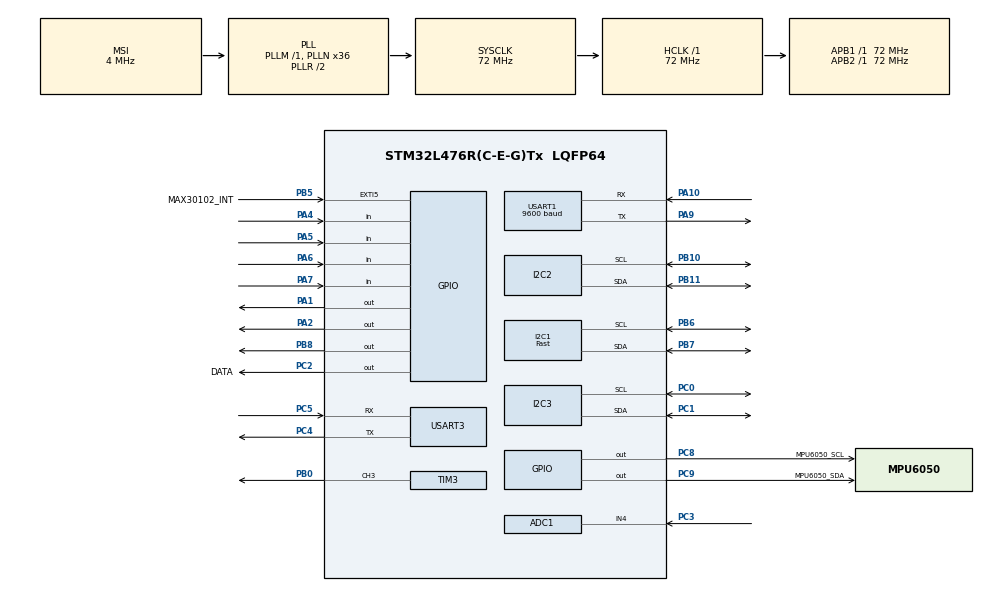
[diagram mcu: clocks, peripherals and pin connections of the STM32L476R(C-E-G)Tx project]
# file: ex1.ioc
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ADC1.Channel-0\#ChannelRegularConversion=ADC_CHANNEL_4
ADC1.NbrOfConversionFlag=1
ADC1.OffsetNumber-0\#ChannelRegularConversion=ADC_OFFSET_NONE
ADC1.Rank-0\#ChannelRegularConversion=1
ADC1.SamplingTime-0\#ChannelRegularConversion=ADC_SAMPLETIME_2CYCLES_5
ADC1.master=1
I2C1.I2C_Speed_Mode=I2C_Fast
I2C1.Timing=0x00E12573
I2C2.Timing=0x10C18DCC
I2C3.Timing=0x10C18DCC
Mcu.Family=STM32L4
Mcu.Name=STM32L476R(C-E-G)Tx
Mcu.Package=LQFP64
NVIC.ADC1_2_IRQn=true\:0\:0\:false\:false\:true\:true\:true\:true
NVIC.EXTI9_5_IRQn=true\:0\:0\:false\:false\:true\:true\:true\:true
NVIC.PriorityGroup=NVIC_PRIORITYGROUP_4
NVIC.USART3_IRQn=true\:0\:0\:false\:false\:true\:true\:true\:true
PA1.GPIO_PuPd=GPIO_PULLUP
PA1.GPIO_Speed=GPIO_SPEED_FREQ_HIGH
PA1.Signal=GPIO_Output
PA10.Mode=Asynchronous
PA10.Signal=USART1_RX
PA2.GPIO_PuPd=GPIO_PULLUP
PA2.GPIO_Speed=GPIO_SPEED_FREQ_HIGH
PA2.Signal=GPIO_Output
PA4.GPIO_PuPd=GPIO_PULLUP
PA4.Signal=GPIO_Input
PA5.GPIO_PuPd=GPIO_PULLUP
PA5.Signal=GPIO_Input
PA6.GPIO_PuPd=GPIO_PULLUP
PA6.Signal=GPIO_Input
PA7.GPIO_PuPd=GPIO_PULLUP
PA7.Signal=GPIO_Input
PA9.Mode=Asynchronous
PA9.Signal=USART1_TX
PB0.Signal=S_TIM3_CH3
PB10.Mode=I2C
PB10.Signal=I2C2_SCL
PB11.Mode=I2C
PB11.Signal=I2C2_SDA
PB5.GPIO_Label=MAX30102_INT
PB5.GPIO_ModeDefaultEXTI=GPIO_MODE_IT_FALLING
PB5.GPIO_PuPd=GPIO_NOPULL
PB5.Signal=GPXTI5
PB6.Mode=I2C
PB6.Signal=I2C1_SCL
PB7.Mode=I2C
PB7.Signal=I2C1_SDA
PB8.Signal=GPIO_Output
PC0.Mode=I2C
PC0.Signal=I2C3_SCL
PC1.Mode=I2C
PC1.Signal=I2C3_SDA
PC14-OSC32_IN\ (PC14).Mode=LSE-External-Oscillator
PC14-OSC32_IN\ (PC14).Signal=RCC_OSC32_IN
PC15-OSC32_OUT\ (PC15).Mode=LSE-External-Oscillator
PC15-OSC32_OUT\ (PC15).Signal=RCC_OSC32_OUT
PC2.GPIO_Label=DATA
PC2.PinState=GPIO_PIN_SET
PC2.Signal=GPIO_Output
PC3.Signal=ADCx_IN4
PC4.Mode=Asynchronous
PC4.Signal=USART3_TX
PC5.Mode=Asynchronous
PC5.Signal=USART3_RX
PC8.GPIO_Label=MPU6050_SCL
PC8.GPIO_PuPd=GPIO_PULLUP
PC8.Signal=GPIO_Output
PC9.GPIO_Label=MPU6050_SDA
PC9.GPIO_PuPd=GPIO_PULLUP
PC9.GPIO_Speed=GPIO_SPEED_FREQ_HIGH
PC9.Signal=GPIO_Output
PH0-OSC_IN\ (PH0).Mode=HSE-External-Oscillator
PH0-OSC_IN\ (PH0).Signal=RCC_OSC_IN
PH1-OSC_OUT\ (PH1).Mode=HSE-External-Oscillator
PH1-OSC_OUT\ (PH1).Signal=RCC_OSC_OUT
ProjectManager.HeapSize=0x200
ProjectManager.StackSize=0x400
ProjectManager.TargetToolchain=MDK-ARM V5.27
RCC.ADCFreq_Value=32000000
RCC.AHBFreq_Value=72000000
RCC.APB1Freq_Value=72000000
RCC.APB1TimFreq_Value=72000000
RCC.APB2Freq_Value=72000000
RCC.APB2TimFreq_Value=72000000
RCC.CortexFreq_Value=72000000
RCC.HCLKFreq_Value=72000000
RCC.HSE_VALUE=8000000
RCC.HSI_VALUE=16000000
RCC.MSI_VALUE=4000000
RCC.PLLN=36
RCC.PLLSAI1N=16
RCC.SYSCLKFreq_VALUE=72000000
RCC.SYSCLKSource=RCC_SYSCLKSOURCE_PLLCLK
RCC.USBFreq_Value=32000000
RCC.VCOOutputFreq_Value=144000000
SH.ADCx_IN4.0=ADC1_IN4,IN4-Single-Ended
SH.S_TIM3_CH3.0=TIM3_CH3,PWM Generation3 CH3
TIM1.AutoReloadPreload=TIM_AUTORELOAD_PRELOAD_ENABLE
TIM1.Period=1
TIM1.Prescaler=80-1
TIM3.Channel-PWM\ Generation3\ CH3=TIM_CHANNEL_3
TIM3.Period=9999
TIM3.Prescaler=80-1
TIM4.Prescaler=72-1
USART1.BaudRate=9600
USART1.VirtualMode-Asynchronous=VM_ASYNC
USART3.VirtualMode-Asynchronous=VM_ASYNC
VP_TIM1_VS_ClockSourceINT.Mode=Internal
VP_TIM4_VS_ClockSourceINT.Mode=Internal
board=custom

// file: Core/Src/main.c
/* USER CODE BEGIN Header */
/**
  ******************************************************************************
  * @file           : main.c
  * @brief          : Main program body
  ******************************************************************************
  * @attention
  *
  * Copyright (c) 2025 STMicroelectronics.
  * All rights reserved.
  *
  * This software is licensed under terms that can be found in the LICENSE file
  * in the root directory of this software component.
  * If no LICENSE file comes with this software, it is provided AS-IS.
  *
  ******************************************************************************
  */
/* USER CODE END Header */
#include "main.h"
#include "adc.h"
#include "i2c.h"
#include "tim.h"
#include "usart.h"
#include "gpio.h"

/* USER CODE BEGIN Includes */
#include <stdio.h>
#include <stdlib.h>
#include <string.h>
#include <math.h>

#include "oled.h"
#include "max30102.h"
#include "dht11.h"
#include "DS3231.h"
#include "IIC.h"
#include "mpu6050.h"
#include "inv_mpu.h"
#include "inv_mpu_dmp_motion_driver.h"

/*
 * Application overview:
 * - polls several sensors on a simple cooperative schedule,
 * - keeps the latest results in module-specific state structures,
 * - mirrors the current page to the OLED,
 * - and periodically prints a consolidated telemetry packet over Bluetooth/UART.
 */
/* USER CODE END Includes */

/* USER CODE BEGIN PTD */
/* Cached DS3231 time after any display-side offset has been applied. */
typedef struct
{
    uint8_t year;
    uint8_t month;
    uint8_t day;
    uint8_t weekday;
    uint8_t hour;
    uint8_t minute;
    uint8_t second;
    uint8_t valid;
} rtc_state_t;

/* Latest DHT11 reading. */
typedef struct
{
    uint8_t temp;
    uint8_t humidity;
    uint8_t valid;
} dht_state_t;

/* Raw ADC light reading plus a normalized percentage for display/telemetry. */
typedef struct
{
    uint32_t raw;
    uint8_t percent;
} light_state_t;

/* Motion snapshot combining orientation, raw IMU values, and the software step counter. */
typedef struct
{
    float pitch;
    float roll;
    float yaw;
    int16_t ax;
    int16_t ay;
    int16_t az;
    int16_t gx;
    int16_t gy;
    int16_t gz;
    uint32_t steps;
    uint8_t valid;
} motion_state_t;

/* Smoothed pulse oximeter result plus validity/finger-detection flags. */
typedef struct
{
    uint16_t heart_rate;
    uint16_t spo2;
    uint8_t hr_valid;
    uint8_t spo2_valid;
    uint8_t finger_present;
} pulse_state_t;

/* Position fix cached from either the hardware GNSS receiver or Bluetooth-relayed coordinates. */
typedef struct
{
    char utc[16];
    char date[8];
    char lat[16];
    char lon[16];
    char lat_deg[16];
    char lon_deg[16];
    char lat_hemi;
    char lon_hemi;
    uint8_t fix_valid;
    uint32_t last_update_ms;
} gps_state_t;

/* UI-only state for page selection and alarm thresholds. */
typedef struct
{
    uint8_t page;
    uint8_t temp_warn;
    uint16_t hr_warn;
} ui_state_t;
/* USER CODE END PTD */

/* USER CODE BEGIN PD */
#define MENU_PAGE_COUNT                 6U
#define OLED_TEXT_COLS                  21U

/*
 * LM393 AO on most photoresistor modules rises when ambient light gets stronger.
 * If your board behaves in the opposite direction, change this define to 0.
 */
#define LIGHT_SENSOR_HIGH_WHEN_BRIGHT   0U
#define RTC_DISPLAY_OFFSET_SECONDS      10

/* Cooperative scheduler periods for the main loop. */
#define KEY_SCAN_MS                     20U
#define MPU_UPDATE_MS                   40U
#define ADC_UPDATE_MS                   100U
#define RTC_UPDATE_MS                   250U
#define DHT_UPDATE_MS                   2000U
#define MAX30102_UPDATE_MS              100U
#define MAX30102_STARTUP_DELAY_MS       100U
#define OLED_UPDATE_MS                  200U
#define BT_UPDATE_MS                    1000U
#define GPS_STALE_MS                    10000U

#define TEMP_WARN_DEFAULT               30U
#define TEMP_WARN_MIN                   0U
#define TEMP_WARN_MAX                   60U

#define HR_WARN_DEFAULT                 120U
#define HR_WARN_MIN                     60U
#define HR_WARN_MAX                     200U

#define HR_FILTER_DEPTH                 7U
#define MAX30102_INVALID_HOLD           2U
#define GPS_LINE_MAX                    96U
/* USER CODE END PD */

/* USER CODE BEGIN PV */
/* Latest module snapshots used by the OLED page renderer and Bluetooth output. */
static rtc_state_t g_rtc = {0};
static dht_state_t g_dht = {0};
static light_state_t g_light = {0};
static motion_state_t g_motion = {0};
static pulse_state_t g_pulse = {0};
static gps_state_t g_gps = {{0}};
static gps_state_t g_bt_gps = {{0}};
static ui_state_t g_ui = {0, TEMP_WARN_DEFAULT, HR_WARN_DEFAULT};

/* Line-assembly state for byte-wise UART reception. */
static uint8_t g_gps_rx_byte = 0U;
static uint8_t g_bt_rx_byte = 0U;
static volatile uint16_t g_gps_line_index = 0U;
static volatile uint8_t g_gps_sentence_ready = 0U;
static char g_gps_line_buffer[GPS_LINE_MAX] = {0};
static char g_gps_sentence_buffer[GPS_LINE_MAX] = {0};

static volatile uint16_t g_bt_line_index = 0U;
static volatile uint8_t g_bt_sentence_ready = 0U;
static char g_bt_line_buffer[GPS_LINE_MAX] = {0};
static char g_bt_sentence_buffer[GPS_LINE_MAX] = {0};

/* Cached OLED rows so only changed lines are rewritten, which reduces visible flicker. */
static char g_oled_cache[8][OLED_TEXT_COLS + 1U] = {{0}};
static uint8_t g_oled_cache_valid = 0U;
static uint8_t g_last_oled_page = 0xFFU;

/* Runtime flags describing refresh requests and IMU availability. */
static uint8_t g_ui_force_refresh = 1U;
static uint8_t g_mpu_basic_ready = 0U;
static uint8_t g_mpu_dmp_ready = 0U;

/* Last execution timestamps for the cooperative scheduler. */
static uint32_t g_last_key_ms = 0U;
static uint32_t g_last_mpu_ms = 0U;
static uint32_t g_last_adc_ms = 0U;
static uint32_t g_last_rtc_ms = 0U;
static uint32_t g_last_dht_ms = 0U;
static uint32_t g_last_max30102_ms = 0U;
static uint32_t g_last_oled_ms = 0U;
static uint32_t g_last_bt_ms = 0U;
static uint32_t g_boot_ms = 0U;

/* Step detector history used to adapt the threshold and avoid double counting. */
static int16_t g_step_prev_ax = 0;
static int16_t g_step_prev_ay = 0;
static int16_t g_step_prev_az = 0;
static uint32_t g_step_history[10] = {0};
static uint8_t g_step_history_index = 0U;
static uint16_t g_step_threshold = 700U;
static uint8_t g_step_gate = 0U;

/* Median-filter history and stability counters for pulse output. */
static uint16_t g_hr_history[HR_FILTER_DEPTH] = {0};
static uint8_t g_hr_history_count = 0U;
static uint8_t g_hr_history_index = 0U;

static uint8_t g_hr_consecutive_valid = 0U;
static uint8_t g_spo2_consecutive_valid = 0U;
static uint8_t g_hr_consecutive_invalid = 0U;
static uint8_t g_spo2_consecutive_invalid = 0U;
static uint8_t g_hr_jump_reject_count = 0U;

/* Non-blocking buzzer sequence state. */
static uint8_t g_alarm_on = 0U;
static uint8_t g_alarm_steps_left = 0U;
static uint32_t g_alarm_next_toggle_ms = 0U;
static uint32_t g_alarm_last_sequence_ms = 0U;
/* USER CODE END PV */

void SystemClock_Config(void);
/* USER CODE BEGIN PFP */
static uint8_t App_LightPercentFromRaw(uint32_t raw);
static uint32_t App_AccelAbsSum(int16_t ax, int16_t ay, int16_t az);
static void App_StepAdjustThreshold(uint32_t current_sum);
static void App_StepUpdate(int16_t ax, int16_t ay, int16_t az);
static void App_BuzzerStart(uint16_t freq_hz);
static void App_BuzzerStop(void);
static void App_AlarmTask(uint32_t now, uint8_t alert_active);
static void App_RtcTask(void);
static void App_DhtTask(void);
static void App_LightTask(void);
static void App_MotionTask(void);
static void App_PulseTask(void);
static void App_KeysTask(void);
static void App_OledTask(void);
static void App_BluetoothTask(void);
static void App_GpsHandleByte(uint8_t byte);
static void App_BtHandleByte(uint8_t byte);
static void App_GpsProcessPending(void);
static void App_BtProcessPending(void);
static void App_GpsParseSentence(char *sentence);
static void App_GpsParseSentenceToState(gps_state_t *state, char *sentence);
static void App_BtParseSentence(char *sentence);
static uint8_t App_GpsStateFresh(const gps_state_t *state, uint32_t now);
static const gps_state_t *App_GpsGetActive(uint32_t now, uint8_t *from_bt);
static uint16_t App_FilterHeartRate(uint16_t sample);
static void App_UpdateTiltFromAccel(int16_t ax, int16_t ay, int16_t az);
static void App_RtcAddOffset(rtc_state_t *rtc, int32_t seconds_offset);
static const char *App_ClimateComfortText(uint8_t temp_c, uint8_t humidity_percent);
static const char *App_TemperatureComfortText(uint8_t temp_c);
static const char *App_HumidityComfortText(uint8_t humidity_percent);
static const char *App_LightLevelText(uint8_t percent);
static void App_OledWriteLine(uint8_t row, const char *text, uint8_t force);
static void App_NmeaToDegrees(const char *nmea, char hemisphere, uint8_t is_latitude, char *out, size_t out_len);
static uint8_t App_BtParseCoordinateText(const char *sentence, gps_state_t *state);
/* USER CODE END PFP */

/* USER CODE BEGIN 0 */
/* Convert the raw 12-bit ADC sample into a user-facing percentage. */
static uint8_t App_LightPercentFromRaw(uint32_t raw)
{
    uint32_t percent = (raw * 100U) / 4095U;

#if !LIGHT_SENSOR_HIGH_WHEN_BRIGHT
    percent = 100U - percent;
#endif

    if (percent > 100U)
    {
        percent = 100U;
    }
    return (uint8_t)percent;
}

/* Compact motion magnitude used by the simple step detector. */
static uint32_t App_AccelAbsSum(int16_t ax, int16_t ay, int16_t az)
{
    return (uint32_t)abs((int)ax) + (uint32_t)abs((int)ay) + (uint32_t)abs((int)az);
}

/* Adapt the step threshold to recent motion intensity so the counter is less sensitive to fixed tuning. */
static void App_StepAdjustThreshold(uint32_t current_sum)
{
    uint32_t avg = 0U;
    uint8_t count = 0U;
    uint8_t i;

    g_step_history[g_step_history_index] = current_sum;
    g_step_history_index = (uint8_t)((g_step_history_index + 1U) % 10U);

    for (i = 0U; i < 10U; i++)
    {
        if (g_step_history[i] > 0U)
        {
            avg += g_step_history[i];
            count++;
        }
    }

    if (count == 0U)
    {
        return;
    }

    avg /= count;
    g_step_threshold = (uint16_t)(avg + 450U);
    if (g_step_threshold < 550U)
    {
        g_step_threshold = 550U;
    }
    if (g_step_threshold > 1500U)
    {
        g_step_threshold = 1500U;
    }
}

/* Detect a new step from the change in acceleration magnitude and gate it until motion settles again. */
static void App_StepUpdate(int16_t ax, int16_t ay, int16_t az)
{
    uint32_t current_sum = App_AccelAbsSum(ax, ay, az);
    uint32_t last_sum = App_AccelAbsSum(g_step_prev_ax, g_step_prev_ay, g_step_prev_az);
    int32_t accel_diff = (int32_t)current_sum - (int32_t)last_sum;

    if (accel_diff < 0)
    {
        accel_diff = -accel_diff;
    }

    App_StepAdjustThreshold(current_sum);

    if ((uint32_t)accel_diff > g_step_threshold)
    {
        if (g_step_gate == 0U)
        {
            g_motion.steps++;
            g_step_gate = 1U;
            g_ui_force_refresh = 1U;
        }
    }
    else if ((uint32_t)accel_diff < (g_step_threshold / 3U))
    {
        g_step_gate = 0U;
    }

    g_step_prev_ax = ax;
    g_step_prev_ay = ay;
    g_step_prev_az = az;
}

/* Fallback orientation estimate used when the MPU DMP is unavailable. */
static void App_UpdateTiltFromAccel(int16_t ax, int16_t ay, int16_t az)
{
    float axf = (float)ax;
    float ayf = (float)ay;
    float azf = (float)az;
    float denom = sqrtf((ayf * ayf) + (azf * azf));

    if (denom < 1.0f)
    {
        denom = 1.0f;
    }

    g_motion.pitch = atan2f(-axf, denom) * 57.2957795f;
    g_motion.roll = atan2f(ayf, azf) * 57.2957795f;
}

/* Calendar helpers are used when applying a display-side time offset. */
static uint8_t App_IsLeapYear(uint16_t year)
{
    uint16_t full_year = (uint16_t)(2000U + year);
    return (((full_year % 4U) == 0U) && (((full_year % 100U) != 0U) || ((full_year % 400U) == 0U))) ? 1U : 0U;
}

static uint8_t App_DaysInMonth(uint8_t month, uint8_t year)
{
    static const uint8_t days[12] = {31U, 28U, 31U, 30U, 31U, 30U, 31U, 31U, 30U, 31U, 30U, 31U};

    if ((month == 0U) || (month > 12U))
    {
        return 31U;
    }

    if ((month == 2U) && (App_IsLeapYear(year) != 0U))
    {
        return 29U;
    }

    return days[month - 1U];
}

/* Shift the displayed time without writing the offset back into the RTC chip. */
static void App_RtcAddOffset(rtc_state_t *rtc, int32_t seconds_offset)
{
    int32_t total_seconds;
    uint8_t dim;

    if ((rtc == NULL) || (rtc->valid == 0U) || (seconds_offset == 0))
    {
        return;
    }

    total_seconds = ((int32_t)rtc->hour * 3600) + ((int32_t)rtc->minute * 60) + (int32_t)rtc->second + seconds_offset;

    while (total_seconds < 0)
    {
        total_seconds += 86400;
        if (rtc->day > 1U)
        {
            rtc->day--;
        }
        else
        {
            if (rtc->month > 1U)
            {
                rtc->month--;
            }
            else
            {
                rtc->month = 12U;
                if (rtc->year > 0U)
                {
                    rtc->year--;
                }
            }
            rtc->day = App_DaysInMonth(rtc->month, rtc->year);
        }
    }

    while (total_seconds >= 86400)
    {
        total_seconds -= 86400;
        dim = App_DaysInMonth(rtc->month, rtc->year);
        rtc->day++;
        if (rtc->day > dim)
        {
            rtc->day = 1U;
            rtc->month++;
            if (rtc->month > 12U)
            {
                rtc->month = 1U;
                rtc->year++;
            }
        }
    }

    rtc->hour = (uint8_t)(total_seconds / 3600);
    total_seconds %= 3600;
    rtc->minute = (uint8_t)(total_seconds / 60);
    rtc->second = (uint8_t)(total_seconds % 60);
}

/* Human-readable labels used on the OLED and inside telemetry packets. */
static const char *App_TemperatureComfortText(uint8_t temp_c)
{
    if (temp_c < 20U)
    {
        return "Cold";
    }
    if (temp_c > 26U)
    {
        return "Hot";
    }
    return "Comfort";
}

static const char *App_HumidityComfortText(uint8_t humidity_percent)
{
    if (humidity_percent < 30U)
    {
        return "Dry";
    }
    if (humidity_percent > 60U)
    {
        return "Humid";
    }
    return "Comfort";
}

static const char *App_LightLevelText(uint8_t percent)
{
    if (percent >= 70U)
    {
        return "Bright";
    }
    if (percent >= 35U)
    {
        return "Normal";
    }
    return "Dark";
}

static const char *App_ClimateComfortText(uint8_t temp_c, uint8_t humidity_percent)
{
    uint8_t temp_ok = ((temp_c >= 20U) && (temp_c <= 26U)) ? 1U : 0U;
    uint8_t humidity_ok = ((humidity_percent >= 30U) && (humidity_percent <= 60U)) ? 1U : 0U;

    if ((temp_ok != 0U) && (humidity_ok != 0U))
    {
        return "Comfort";
    }
    if ((temp_c > 26U) && (humidity_percent > 60U))
    {
        return "Hot&Humid";
    }
    if ((temp_c < 20U) && (humidity_percent < 30U))
    {
        return "Cold&Dry";
    }
    if (temp_c > 26U)
    {
        return "Hot";
    }
    if (temp_c < 20U)
    {
        return "Cold";
    }
    if (humidity_percent > 60U)
    {
        return "Humid";
    }
    if (humidity_percent < 30U)
    {
        return "Dry";
    }
    return "NearComfort";
}

/* Pad, cache, and rewrite a single OLED row only when its visible content changes. */
static void App_OledWriteLine(uint8_t row, const char *text, uint8_t force)
{
    char padded[OLED_TEXT_COLS + 1U];
    size_t len;

    if (row >= 8U)
    {
        return;
    }

    memset(padded, ' ', sizeof(padded));
    padded[OLED_TEXT_COLS] = '\0';

    if (text != NULL)
    {
        len = strlen(text);
        if (len > OLED_TEXT_COLS)
        {
            len = OLED_TEXT_COLS;
        }
        memcpy(padded, text, len);
    }

    if ((force != 0U) || (g_oled_cache_valid == 0U) || (strncmp(g_oled_cache[row], padded, OLED_TEXT_COLS) != 0))
    {
        strcpy(g_oled_cache[row], padded);
        OLED_ShowString(0, row, g_oled_cache[row], 12, 0);
    }
}

/* Convert ddmm.mmmm / dddmm.mmmm NMEA text into a compact hemisphere-prefixed decimal string. */
static void App_NmeaToDegrees(const char *nmea, char hemisphere, uint8_t is_latitude, char *out, size_t out_len)
{
    uint32_t raw = 0U;
    uint32_t degrees;
    uint32_t minutes_x10000;
    uint32_t fraction_scale = 1U;
    const char *dot;
    size_t i;
    uint32_t decimal_deg_x10000;

    if ((out == NULL) || (out_len == 0U))
    {
        return;
    }

    out[0] = '\0';

    if ((nmea == NULL) || (nmea[0] == '\0'))
    {
        return;
    }

    for (i = 0U; nmea[i] != '\0'; i++)
    {
        if (nmea[i] == '.')
        {
            continue;
        }
        if ((nmea[i] < '0') || (nmea[i] > '9'))
        {
            return;
        }
        raw = (raw * 10U) + (uint32_t)(nmea[i] - '0');
    }

    dot = strchr(nmea, '.');
    if (dot != NULL)
    {
        size_t frac_digits = strlen(dot + 1U);
        while (frac_digits-- > 0U)
        {
            fraction_scale *= 10U;
        }
    }
    else
    {
        fraction_scale = 1U;
    }

    if (is_latitude != 0U)
    {
        degrees = raw / (100U * fraction_scale);
        minutes_x10000 = (raw - (degrees * 100U * fraction_scale)) * 10000U / fraction_scale;
    }
    else
    {
        degrees = raw / (100U * fraction_scale);
        minutes_x10000 = (raw - (degrees * 100U * fraction_scale)) * 10000U / fraction_scale;
    }

    decimal_deg_x10000 = (degrees * 10000U) + (minutes_x10000 / 60U);
    snprintf(out, out_len, "%c%lu.%04lu",
             hemisphere != '\0' ? hemisphere : '?',
             (unsigned long)(decimal_deg_x10000 / 10000U),
             (unsigned long)(decimal_deg_x10000 % 10000U));
}

/* Treat old fixes as stale so the UI can fall back to Bluetooth-relayed coordinates when necessary. */
static uint8_t App_GpsStateFresh(const gps_state_t *state, uint32_t now)
{
    if ((state == NULL) || (state->fix_valid == 0U) || (state->last_update_ms == 0U))
    {
        return 0U;
    }

    return ((now - state->last_update_ms) <= GPS_STALE_MS) ? 1U : 0U;
}

/* Prefer the dedicated GNSS receiver, but transparently fall back to a fresh Bluetooth position source. */
static const gps_state_t *App_GpsGetActive(uint32_t now, uint8_t *from_bt)
{
    if (App_GpsStateFresh(&g_gps, now) != 0U)
    {
        if (from_bt != NULL)
        {
            *from_bt = 0U;
        }
        return &g_gps;
    }

    if (App_GpsStateFresh(&g_bt_gps, now) != 0U)
    {
        if (from_bt != NULL)
        {
            *from_bt = 1U;
        }
        return &g_bt_gps;
    }

    if (from_bt != NULL)
    {
        *from_bt = 0U;
    }
    return NULL;
}

/* Small median filter to suppress short heart-rate spikes before smoothing is applied. */
static uint16_t App_FilterHeartRate(uint16_t sample)
{
    uint16_t temp[HR_FILTER_DEPTH];
    uint8_t count;
    uint8_t i;
    uint8_t j;
    uint16_t key;

    g_hr_history[g_hr_history_index] = sample;
    g_hr_history_index = (uint8_t)((g_hr_history_index + 1U) % HR_FILTER_DEPTH);
    if (g_hr_history_count < HR_FILTER_DEPTH)
    {
        g_hr_history_count++;
    }

    count = g_hr_history_count;
    for (i = 0U; i < count; i++)
    {
        temp[i] = g_hr_history[i];
    }

    for (i = 1U; i < count; i++)
    {
        key = temp[i];
        j = i;
        while ((j > 0U) && (temp[j - 1U] > key))
        {
            temp[j] = temp[j - 1U];
            j--;
        }
        temp[j] = key;
    }

    return temp[count / 2U];
}

/* Drive TIM3 PWM so the buzzer can be sequenced without blocking the main loop. */
static void App_BuzzerStart(uint16_t freq_hz)
{
    uint32_t arr;
    uint32_t pulse;

    if (freq_hz == 0U)
    {
        App_BuzzerStop();
        return;
    }

    arr = 1000000UL / (uint32_t)freq_hz;
    if (arr > 0U)
    {
        arr -= 1U;
    }
    if (arr > 0xFFFFU)
    {
        arr = 0xFFFFU;
    }

    pulse = (arr + 1U) / 2U;
    __HAL_TIM_SET_AUTORELOAD(&htim3, (uint16_t)arr);
    __HAL_TIM_SET_COMPARE(&htim3, TIM_CHANNEL_3, (uint16_t)pulse);
    HAL_TIM_PWM_Start(&htim3, TIM_CHANNEL_3);
    g_alarm_on = 1U;
}

static void App_BuzzerStop(void)
{
    __HAL_TIM_SET_COMPARE(&htim3, TIM_CHANNEL_3, 0U);
    HAL_TIM_PWM_Stop(&htim3, TIM_CHANNEL_3);
    g_alarm_on = 0U;
}

/* Generate a repeating beep pattern while either temperature or heart-rate alarms are active. */
static void App_AlarmTask(uint32_t now, uint8_t alert_active)
{
    if (alert_active != 0U)
    {
        if ((g_alarm_steps_left == 0U) && ((now - g_alarm_last_sequence_ms) >= 1500U))
        {
            g_alarm_steps_left = 6U;
            g_alarm_last_sequence_ms = now;
            App_BuzzerStart(2000U);
            g_alarm_next_toggle_ms = now + 100U;
        }
    }
    else
    {
        g_alarm_steps_left = 0U;
        App_BuzzerStop();
        return;
    }

    if ((g_alarm_steps_left > 0U) && (now >= g_alarm_next_toggle_ms))
    {
        if (g_alarm_on != 0U)
        {
            App_BuzzerStop();
            g_alarm_next_toggle_ms = now + 80U;
        }
        else
        {
            App_BuzzerStart(2000U);
            g_alarm_next_toggle_ms = now + 100U;
        }

        g_alarm_steps_left--;
        if (g_alarm_steps_left == 0U)
        {
            App_BuzzerStop();
        }
    }
}

/* Refresh the RTC snapshot used by both the OLED and telemetry packet. */
static void App_RtcTask(void)
{
    uint8_t *time_ptr;

    DS3231_ReadTime();
    time_ptr = DS3231_ReadTime_ReturnPoint();
    g_rtc.year = time_ptr[1];
    g_rtc.month = time_ptr[2];
    g_rtc.day = time_ptr[3];
    g_rtc.weekday = time_ptr[4];
    g_rtc.hour = time_ptr[5];
    g_rtc.minute = time_ptr[6];
    g_rtc.second = time_ptr[7];
    g_rtc.valid = 1U;
    App_RtcAddOffset(&g_rtc, RTC_DISPLAY_OFFSET_SECONDS);
}

/* Read the DHT11 and mark the module invalid when the checksum/handshake fails. */
static void App_DhtTask(void)
{
    if (DH11_Read() != 0U)
    {
        g_dht.temp = DH11_data.temp;
        g_dht.humidity = DH11_data.humidity;
        g_dht.valid = 1U;
    }
    else
    {
        g_dht.valid = 0U;
    }
}

/* Sample the light sensor through the ADC and convert it to a percentage. */
static void App_LightTask(void)
{
    if (HAL_ADC_Start(&hadc1) == HAL_OK)
    {
        if (HAL_ADC_PollForConversion(&hadc1, 5U) == HAL_OK)
        {
            g_light.raw = HAL_ADC_GetValue(&hadc1);
            g_light.percent = App_LightPercentFromRaw(g_light.raw);
        }
        HAL_ADC_Stop(&hadc1);
    }
}

/* Update raw IMU data, step count, and orientation estimates. */
static void App_MotionTask(void)
{
    uint8_t accel_ok = 0U;

    if (g_mpu_basic_ready == 0U)
    {
        g_motion.valid = 0U;
        return;
    }

    if (MPU_Get_Accelerometer(&g_motion.ax, &g_motion.ay, &g_motion.az) == 0U)
    {
        accel_ok = 1U;
        g_motion.valid = 1U;
        App_StepUpdate(g_motion.ax, g_motion.ay, g_motion.az);
    }

    (void)MPU_Get_Gyroscope(&g_motion.gx, &g_motion.gy, &g_motion.gz);

    if ((g_mpu_dmp_ready != 0U) && (mpu_dmp_get_data(&g_motion.pitch, &g_motion.roll, &g_motion.yaw) == 0U))
    {
        g_motion.valid = 1U;
    }
    else if (accel_ok != 0U)
    {
        App_UpdateTiltFromAccel(g_motion.ax, g_motion.ay, g_motion.az);
        g_motion.yaw = 0.0f;
        g_motion.valid = 1U;
    }
    else
    {
        g_motion.valid = 0U;
    }
}

/* Update MAX30102 processing: require stable windows, reset when the finger is removed, and smooth valid outputs. */
static void App_PulseTask(void)
{
    uint8_t result_updated;
    uint8_t finger_before = g_pulse.finger_present;
    uint16_t hr_candidate = 0U;
    uint16_t spo2_candidate = 0U;
    uint16_t diff;

    Int_MAX30102_GetSpo2AndHeartRate();
    g_pulse.finger_present = Int_MAX30102_FingerDetected();
    result_updated = Int_MAX30102_ResultUpdated();

    if (g_pulse.finger_present != finger_before)
    {
        g_ui_force_refresh = 1U;
    }

    if (g_pulse.finger_present == 0U)
    {
        g_pulse.heart_rate = 0U;
        g_pulse.spo2 = 0U;
        g_pulse.hr_valid = 0U;
        g_pulse.spo2_valid = 0U;
        g_hr_consecutive_valid = 0U;
        g_spo2_consecutive_valid = 0U;
        g_hr_consecutive_invalid = 0U;
        g_spo2_consecutive_invalid = 0U;
        g_hr_jump_reject_count = 0U;
        memset(g_hr_history, 0, sizeof(g_hr_history));
        g_hr_history_count = 0U;
        g_hr_history_index = 0U;
        return;
    }

    if (result_updated == 0U)
    {
        return;
    }

    if ((ch_hr_valid != 0U) && (n_heart_rate >= 45) && (n_heart_rate <= 165))
    {
        hr_candidate = App_FilterHeartRate((uint16_t)n_heart_rate);

        if (g_hr_consecutive_valid == 0U)
        {
            g_pulse.heart_rate = hr_candidate;
        }
        else
        {
            diff = (g_pulse.heart_rate > hr_candidate)
                 ? (uint16_t)(g_pulse.heart_rate - hr_candidate)
                 : (uint16_t)(hr_candidate - g_pulse.heart_rate);

            if ((g_hr_consecutive_valid >= 2U) && (diff > 15U) && (g_hr_jump_reject_count < 2U))
            {
                hr_candidate = g_pulse.heart_rate;
                g_hr_jump_reject_count++;
            }
            else
            {
                g_hr_jump_reject_count = 0U;
            }

            g_pulse.heart_rate = (uint16_t)(((uint32_t)g_pulse.heart_rate * 7U + (uint32_t)hr_candidate + 4U) / 8U);
        }

        if (g_hr_consecutive_valid < 4U)
        {
            g_hr_consecutive_valid++;
        }
        g_hr_consecutive_invalid = 0U;
        g_pulse.hr_valid = (g_hr_consecutive_valid >= 2U) ? 1U : 0U;
    }
    else
    {
        if (g_hr_consecutive_invalid < 4U)
        {
            g_hr_consecutive_invalid++;
        }
        if (g_hr_consecutive_invalid >= MAX30102_INVALID_HOLD)
        {
            g_pulse.heart_rate = 0U;
            g_pulse.hr_valid = 0U;
            g_hr_consecutive_valid = 0U;
            g_hr_jump_reject_count = 0U;
            memset(g_hr_history, 0, sizeof(g_hr_history));
            g_hr_history_count = 0U;
            g_hr_history_index = 0U;
        }
    }

    if ((ch_spo2_valid != 0U) && (n_sp02 >= 80) && (n_sp02 <= 100))
    {
        spo2_candidate = (uint16_t)n_sp02;
        if (g_spo2_consecutive_valid == 0U)
        {
            g_pulse.spo2 = spo2_candidate;
        }
        else
        {
            g_pulse.spo2 = (uint16_t)(((uint32_t)g_pulse.spo2 * 7U + (uint32_t)spo2_candidate + 4U) / 8U);
        }

        if (g_spo2_consecutive_valid < 4U)
        {
            g_spo2_consecutive_valid++;
        }
        g_spo2_consecutive_invalid = 0U;
        g_pulse.spo2_valid = (g_spo2_consecutive_valid >= 2U) ? 1U : 0U;
    }
    else
    {
        if (g_spo2_consecutive_invalid < 4U)
        {
            g_spo2_consecutive_invalid++;
        }
        if (g_spo2_consecutive_invalid >= MAX30102_INVALID_HOLD)
        {
            g_pulse.spo2 = 0U;
            g_pulse.spo2_valid = 0U;
            g_spo2_consecutive_valid = 0U;
        }
    }

    g_ui_force_refresh = 1U;
}

/* Page navigation and threshold adjustment are handled by four active-low buttons. */
static void App_KeysTask(void)
{
    static uint8_t last_pressed[4] = {0U, 0U, 0U, 0U};
    uint8_t current_pressed[4];

    /* Read key states, active low. */
    current_pressed[0] = (HAL_GPIO_ReadPin(GPIOA, GPIO_PIN_4) == GPIO_PIN_RESET) ? 1U : 0U; /* PA4 */
    current_pressed[1] = (HAL_GPIO_ReadPin(GPIOA, GPIO_PIN_5) == GPIO_PIN_RESET) ? 1U : 0U; /* PA5 */
    current_pressed[2] = (HAL_GPIO_ReadPin(GPIOA, GPIO_PIN_6) == GPIO_PIN_RESET) ? 1U : 0U; /* PA6 */
    current_pressed[3] = (HAL_GPIO_ReadPin(GPIOA, GPIO_PIN_7) == GPIO_PIN_RESET) ? 1U : 0U; /* PA7 */

    /* PA4: previous page */
    if ((current_pressed[0] != 0U) && (last_pressed[0] == 0U))
    {
        if (g_ui.page == 0U)
        {
            g_ui.page = (uint8_t)(MENU_PAGE_COUNT - 1U);
        }
        else
        {
            g_ui.page--;
        }
        g_ui_force_refresh = 1U;
    }

    /* PA5: next page */
    if ((current_pressed[1] != 0U) && (last_pressed[1] == 0U))
    {
        g_ui.page = (uint8_t)((g_ui.page + 1U) % MENU_PAGE_COUNT);
        g_ui_force_refresh = 1U;
    }

    /* PA6: increase threshold or reset steps on Motion page */
    if ((current_pressed[2] != 0U) && (last_pressed[2] == 0U))
    {
        if ((g_ui.page == 1U) && (g_ui.temp_warn < TEMP_WARN_MAX))
        {
            g_ui.temp_warn++;
            g_ui_force_refresh = 1U;
        }
        else if ((g_ui.page == 2U) && (g_ui.hr_warn < HR_WARN_MAX))
        {
            g_ui.hr_warn++;
            g_ui_force_refresh = 1U;
        }
        else if (g_ui.page == 5U)
        {
            g_motion.steps = 0U;
            memset(g_step_history, 0, sizeof(g_step_history));
            g_step_threshold = 700U;
            g_step_gate = 0U;
            g_ui_force_refresh = 1U;
        }
    }

    /* PA7: decrease threshold */
    if ((current_pressed[3] != 0U) && (last_pressed[3] == 0U))
    {
        if ((g_ui.page == 1U) && (g_ui.temp_warn > TEMP_WARN_MIN))
        {
            g_ui.temp_warn--;
            g_ui_force_refresh = 1U;
        }
        else if ((g_ui.page == 2U) && (g_ui.hr_warn > HR_WARN_MIN))
        {
            g_ui.hr_warn--;
            g_ui_force_refresh = 1U;
        }
    }

    memcpy(last_pressed, current_pressed, sizeof(last_pressed));
}

/* Render one page at a time and only rewrite lines that changed to reduce flicker. */
static void App_OledTask(void)
{
    char rows[8][OLED_TEXT_COLS + 1U];
    char line[OLED_TEXT_COLS + 1U];
    const gps_state_t *active_gps;
    uint8_t gps_from_bt = 0U;
    uint32_t now = HAL_GetTick();
    uint8_t row;
    uint8_t force = 0U;

    for (row = 0U; row < 8U; row++)
    {
        rows[row][0] = '\0';
    }

    if ((g_oled_cache_valid == 0U) || (g_last_oled_page != g_ui.page))
    {
        force = 1U;
        g_last_oled_page = g_ui.page;
    }

    if (g_ui.page == 0U)
    {
        strcpy(rows[0], "RTC");
        if (g_rtc.valid != 0U)
        {
            snprintf(rows[2], sizeof(rows[2]), "20%02u-%02u-%02u", g_rtc.year, g_rtc.month, g_rtc.day);
            snprintf(rows[4], sizeof(rows[4]), "%02u:%02u:%02u", g_rtc.hour, g_rtc.minute, g_rtc.second);
        }
        else
        {
            strcpy(rows[2], "RTC NOT READY");
        }
    }
    else if (g_ui.page == 1U)
    {
        strcpy(rows[0], "Temp / Humi");
        if (g_dht.valid != 0U)
        {
            snprintf(rows[2], sizeof(rows[2]), "Temp:%2uC", g_dht.temp);
            snprintf(rows[3], sizeof(rows[3]), "Temp:%s", App_TemperatureComfortText(g_dht.temp));
            snprintf(rows[5], sizeof(rows[5]), "Humi:%2u%%", g_dht.humidity);
            snprintf(rows[6], sizeof(rows[6]), "Hum :%s", App_HumidityComfortText(g_dht.humidity));
        }
        else
        {
            strcpy(rows[2], "Temp:--C");
            strcpy(rows[3], "Temp:--");
            strcpy(rows[5], "Humi:--%");
            strcpy(rows[6], "Hum :--");
        }
        snprintf(rows[7], sizeof(rows[7]), "Warn:%2uC", g_ui.temp_warn);
    }
    else if (g_ui.page == 2U)
    {
        strcpy(rows[0], "Heart Rate & SPO2");
        if (g_pulse.spo2_valid != 0U)
        {
            snprintf(rows[2], sizeof(rows[2]), "SPO2:%3u%%", g_pulse.spo2);
        }
        else
        {
            strcpy(rows[2], "SPO2:---%");
        }

        if (g_pulse.hr_valid != 0U)
        {
            snprintf(rows[4], sizeof(rows[4]), "HR:%3ubpm", g_pulse.heart_rate);
        }
        else
        {
            strcpy(rows[4], "HR:---bpm");
        }

        snprintf(rows[6], sizeof(rows[6]), "Warn:%3u", g_ui.hr_warn);
        strcpy(rows[7], (g_pulse.finger_present != 0U) ? "Finger:On" : "Finger:Off");
    }
    else if (g_ui.page == 3U)
    {
        active_gps = App_GpsGetActive(now, &gps_from_bt);
        strcpy(rows[0], "GPS / BT");

        if (active_gps != NULL)
        {
            snprintf(rows[2], sizeof(rows[2]), "SRC:%s FIX", (gps_from_bt != 0U) ? "BT" : "GNSS");
            snprintf(rows[4], sizeof(rows[4]), "Lat:%s", active_gps->lat_deg[0] != '\0' ? active_gps->lat_deg : active_gps->lat);
            snprintf(rows[6], sizeof(rows[6]), "Lon:%s", active_gps->lon_deg[0] != '\0' ? active_gps->lon_deg : active_gps->lon);
        }
        else
        {
            strcpy(rows[2], "SRC:None");
            strcpy(rows[4], "Lat:--");
            strcpy(rows[6], "Lon:--");
            strcpy(rows[7], "Send NMEA over BT");
        }
    }
    else if (g_ui.page == 4U)
    {
        strcpy(rows[0], "Light Sensor");
        snprintf(rows[2], sizeof(rows[2]), "ADC:%4lu", (unsigned long)g_light.raw);
        snprintf(rows[4], sizeof(rows[4]), "Light:%3u%%", g_light.percent);
        snprintf(rows[6], sizeof(rows[6]), "Level:%s", App_LightLevelText(g_light.percent));
    }
    else
    {
        strcpy(rows[0], "Motion");
        snprintf(rows[2], sizeof(rows[2]), "Step:%05lu", (unsigned long)g_motion.steps);

        if (g_motion.valid != 0U)
        {
            snprintf(rows[4], sizeof(rows[4]), "Roll:%4d", (int)g_motion.roll);
            snprintf(rows[5], sizeof(rows[5]), "Pitch:%4d", (int)g_motion.pitch);
            snprintf(rows[6], sizeof(rows[6]), "Yaw :%4d", (int)g_motion.yaw);
        }
        else
        {
            strcpy(rows[4], "MPU CHECK WIRE");
            strcpy(rows[6], "No motion data");
        }
    }

    for (row = 0U; row < 8U; row++)
    {
        strncpy(line, rows[row], sizeof(line) - 1U);
        line[sizeof(line) - 1U] = '\0';
        App_OledWriteLine(row, line, force);
    }
    g_oled_cache_valid = 1U;
}

/* Emit one consolidated telemetry sentence for the desktop dashboard to parse. */
static void App_BluetoothTask(void)
{
    const char *comfort = (g_dht.valid != 0U) ? App_ClimateComfortText(g_dht.temp, g_dht.humidity) : "--";
    const char *hr_text = "--";
    const char *spo2_text = "--";
    const gps_state_t *active_gps;
    char hr_buf[8];
    char spo2_buf[8];
    uint8_t gps_from_bt = 0U;
    const char *src = "NONE";
    char posfix = 'V';
    uint32_t now = HAL_GetTick();

    active_gps = App_GpsGetActive(now, &gps_from_bt);
    if (active_gps != NULL)
    {
        src = (gps_from_bt != 0U) ? "BT" : "GNSS";
        posfix = 'A';
    }

    if ((g_pulse.hr_valid != 0U) && (g_pulse.finger_present != 0U))
    {
        snprintf(hr_buf, sizeof(hr_buf), "%u", g_pulse.heart_rate);
        hr_text = hr_buf;
    }
    if ((g_pulse.spo2_valid != 0U) && (g_pulse.finger_present != 0U))
    {
        snprintf(spo2_buf, sizeof(spo2_buf), "%u", g_pulse.spo2);
        spo2_text = spo2_buf;
    }

   printf("TIME=20%02u-%02u-%02u %02u:%02u:%02u,"
       "TEMP=%u,HUMI=%u,COMFORT=%s,"
       "HR=%s,SPO2=%s,FINGER=%s,"
       "STEP=%lu,LIGHT=%u,ADC_RAW=%lu,"
       "ROLL=%d,PITCH=%d,YAW=%d,"
       "AX=%d,AY=%d,AZ=%d,GX=%d,GY=%d,GZ=%d,"
       "TEMP_WARN=%u,HR_WARN=%u,"
       "POSSRC=%s,POSFIX=%c,%s,%s\r\n",
       g_rtc.year, g_rtc.month, g_rtc.day,
       g_rtc.hour, g_rtc.minute, g_rtc.second,
       g_dht.temp, g_dht.humidity, comfort,
       hr_text, spo2_text, (g_pulse.finger_present != 0U) ? "ON" : "OFF",
       (unsigned long)g_motion.steps,
       g_light.percent,
       (unsigned long)g_light.raw,
       (int)g_motion.roll,
       (int)g_motion.pitch,
       (int)g_motion.yaw,
       (int)g_motion.ax,
       (int)g_motion.ay,
       (int)g_motion.az,
       (int)g_motion.gx,
       (int)g_motion.gy,
       (int)g_motion.gz,
       g_ui.temp_warn,
       g_ui.hr_warn,
       src,
       posfix,
       (active_gps != NULL) ? (active_gps->lat_deg[0] != '\0' ? active_gps->lat_deg : active_gps->lat) : "--",
       (active_gps != NULL) ? (active_gps->lon_deg[0] != '\0' ? active_gps->lon_deg : active_gps->lon) : "--");

}

/* Assemble one GNSS line at a time from byte-wise UART interrupts. */
static void App_GpsHandleByte(uint8_t byte)
{
    if (byte == '\r')
    {
        return;
    }

    if (byte == '\n')
    {
        if ((g_gps_line_index > 0U) && (g_gps_sentence_ready == 0U))
        {
            g_gps_line_buffer[g_gps_line_index] = '\0';
            strncpy(g_gps_sentence_buffer, g_gps_line_buffer, GPS_LINE_MAX - 1U);
            g_gps_sentence_buffer[GPS_LINE_MAX - 1U] = '\0';
            g_gps_sentence_ready = 1U;
        }
        g_gps_line_index = 0U;
        g_gps_line_buffer[0] = '\0';
        return;
    }

    if (g_gps_line_index < (GPS_LINE_MAX - 1U))
    {
        g_gps_line_buffer[g_gps_line_index++] = (char)byte;
    }
    else
    {
        g_gps_line_index = 0U;
        g_gps_line_buffer[0] = '\0';
    }
}

/* Assemble Bluetooth-relayed location sentences using the same line-oriented logic as GNSS input. */
static void App_BtHandleByte(uint8_t byte)
{
    if (byte == '\r')
    {
        return;
    }

    if (byte == '\n')
    {
        if ((g_bt_line_index > 0U) && (g_bt_sentence_ready == 0U))
        {
            g_bt_line_buffer[g_bt_line_index] = '\0';
            strncpy(g_bt_sentence_buffer, g_bt_line_buffer, GPS_LINE_MAX - 1U);
            g_bt_sentence_buffer[GPS_LINE_MAX - 1U] = '\0';
            g_bt_sentence_ready = 1U;
        }
        g_bt_line_index = 0U;
        g_bt_line_buffer[0] = '\0';
        return;
    }

    if (g_bt_line_index < (GPS_LINE_MAX - 1U))
    {
        g_bt_line_buffer[g_bt_line_index++] = (char)byte;
    }
    else
    {
        g_bt_line_index = 0U;
        g_bt_line_buffer[0] = '\0';
    }
}

/* Parse a freshly completed GNSS sentence into the primary GPS cache. */
static void App_GpsParseSentence(char *sentence)
{
    App_GpsParseSentenceToState(&g_gps, sentence);
}

/*
 * Accept common NMEA sentences from the hardware GNSS or from a PC relayed over
 * Bluetooth. RMC provides date/time and position, GGA provides position/fix
 * quality, and GLL provides position with an A/V validity flag.
 */
static void App_GpsParseSentenceToState(gps_state_t *state, char *sentence)
{
    char local[GPS_LINE_MAX];
    char *token;
    uint8_t field = 0U;
    char type[8] = {0};
    char status = 'V';
    char lat[16] = {0};
    char lon[16] = {0};
    char utc[16] = {0};
    char date[8] = {0};
    char lat_hemi = '\0';
    char lon_hemi = '\0';
    uint8_t fix_valid = 0U;

    if ((state == NULL) || (sentence == NULL))
    {
        return;
    }

    while ((*sentence == ' ') || (*sentence == '	'))
    {
        sentence++;
    }

    if (sentence[0] != '$')
    {
        return;
    }

    strncpy(local, sentence, sizeof(local) - 1U);
    local[sizeof(local) - 1U] = '\0';

    token = strtok(local, ",");
    while (token != NULL)
    {
        switch (field)
        {
            case 0:
                strncpy(type, token, sizeof(type) - 1U);
                type[sizeof(type) - 1U] = '\0';
                break;

            /* RMC: $GxRMC,time,status,lat,N,lon,E,speed,course,date,... */
            case 1:
                if ((strncmp(type, "$GPRMC", 6U) == 0) || (strncmp(type, "$GNRMC", 6U) == 0)
                 || (strncmp(type, "$GPGGA", 6U) == 0) || (strncmp(type, "$GNGGA", 6U) == 0))
                {
                    strncpy(utc, token, sizeof(utc) - 1U);
                    utc[sizeof(utc) - 1U] = '\0';
                }
                else if ((strncmp(type, "$GPGLL", 6U) == 0) || (strncmp(type, "$GNGLL", 6U) == 0))
                {
                    strncpy(lat, token, sizeof(lat) - 1U);
                    lat[sizeof(lat) - 1U] = '\0';
                }
                break;

            case 2:
                if ((strncmp(type, "$GPRMC", 6U) == 0) || (strncmp(type, "$GNRMC", 6U) == 0))
                {
                    if (token[0] != '\0')
                    {
                        status = token[0];
                    }
                }
                else if ((strncmp(type, "$GPGGA", 6U) == 0) || (strncmp(type, "$GNGGA", 6U) == 0))
                {
                    strncpy(lat, token, sizeof(lat) - 1U);
                    lat[sizeof(lat) - 1U] = '\0';
                }
                else if ((strncmp(type, "$GPGLL", 6U) == 0) || (strncmp(type, "$GNGLL", 6U) == 0))
                {
                    if (token[0] != '\0')
                    {
                        lat_hemi = token[0];
                    }
                }
                break;

            case 3:
                if ((strncmp(type, "$GPRMC", 6U) == 0) || (strncmp(type, "$GNRMC", 6U) == 0))
                {
                    strncpy(lat, token, sizeof(lat) - 1U);
                    lat[sizeof(lat) - 1U] = '\0';
                }
                else if ((strncmp(type, "$GPGGA", 6U) == 0) || (strncmp(type, "$GNGGA", 6U) == 0))
                {
                    if (token[0] != '\0')
                    {
                        lat_hemi = token[0];
                    }
                }
                else if ((strncmp(type, "$GPGLL", 6U) == 0) || (strncmp(type, "$GNGLL", 6U) == 0))
                {
                    strncpy(lon, token, sizeof(lon) - 1U);
                    lon[sizeof(lon) - 1U] = '\0';
                }
                break;

            case 4:
                if ((strncmp(type, "$GPRMC", 6U) == 0) || (strncmp(type, "$GNRMC", 6U) == 0))
                {
                    if (token[0] != '\0')
                    {
                        lat_hemi = token[0];
                    }
                }
                else if ((strncmp(type, "$GPGGA", 6U) == 0) || (strncmp(type, "$GNGGA", 6U) == 0))
                {
                    strncpy(lon, token, sizeof(lon) - 1U);
                    lon[sizeof(lon) - 1U] = '\0';
                }
                else if ((strncmp(type, "$GPGLL", 6U) == 0) || (strncmp(type, "$GNGLL", 6U) == 0))
                {
                    if (token[0] != '\0')
                    {
                        lon_hemi = token[0];
                    }
                }
                break;

            case 5:
                if ((strncmp(type, "$GPRMC", 6U) == 0) || (strncmp(type, "$GNRMC", 6U) == 0))
                {
                    strncpy(lon, token, sizeof(lon) - 1U);
                    lon[sizeof(lon) - 1U] = '\0';
                }
                else if ((strncmp(type, "$GPGGA", 6U) == 0) || (strncmp(type, "$GNGGA", 6U) == 0))
                {
                    if (token[0] != '\0')
                    {
                        lon_hemi = token[0];
                    }
                }
                else if ((strncmp(type, "$GPGLL", 6U) == 0) || (strncmp(type, "$GNGLL", 6U) == 0))
                {
                    strncpy(utc, token, sizeof(utc) - 1U);
                    utc[sizeof(utc) - 1U] = '\0';
                }
                break;

            case 6:
                if ((strncmp(type, "$GPRMC", 6U) == 0) || (strncmp(type, "$GNRMC", 6U) == 0))
                {
                    if (token[0] != '\0')
                    {
                        lon_hemi = token[0];
                    }
                }
                else if ((strncmp(type, "$GPGGA", 6U) == 0) || (strncmp(type, "$GNGGA", 6U) == 0))
                {
                    if (token[0] > '0')
                    {
                        fix_valid = 1U;
                    }
                }
                else if ((strncmp(type, "$GPGLL", 6U) == 0) || (strncmp(type, "$GNGLL", 6U) == 0))
                {
                    if (token[0] != '\0')
                    {
                        status = token[0];
                    }
                }
                break;

            case 9:
                if ((strncmp(type, "$GPRMC", 6U) == 0) || (strncmp(type, "$GNRMC", 6U) == 0))
                {
                    strncpy(date, token, sizeof(date) - 1U);
                    date[sizeof(date) - 1U] = '\0';
                }
                break;

            default:
                break;
        }
        token = strtok(NULL, ",");
        field++;
    }

    if (utc[0] != '\0')
    {
        strncpy(state->utc, utc, sizeof(state->utc) - 1U);
        state->utc[sizeof(state->utc) - 1U] = '\0';
    }
    if (date[0] != '\0')
    {
        strncpy(state->date, date, sizeof(state->date) - 1U);
        state->date[sizeof(state->date) - 1U] = '\0';
    }

    if (((strncmp(type, "$GPRMC", 6U) == 0) || (strncmp(type, "$GNRMC", 6U) == 0)
      || (strncmp(type, "$GPGLL", 6U) == 0) || (strncmp(type, "$GNGLL", 6U) == 0))
     && (status == 'A'))
    {
        fix_valid = 1U;
    }

    if ((fix_valid != 0U) && (lat[0] != '\0') && (lon[0] != '\0'))
    {
        strncpy(state->lat, lat, sizeof(state->lat) - 1U);
        state->lat[sizeof(state->lat) - 1U] = '\0';
        strncpy(state->lon, lon, sizeof(state->lon) - 1U);
        state->lon[sizeof(state->lon) - 1U] = '\0';
        state->lat_hemi = lat_hemi;
        state->lon_hemi = lon_hemi;
        App_NmeaToDegrees(state->lat, state->lat_hemi, 1U, state->lat_deg, sizeof(state->lat_deg));
        App_NmeaToDegrees(state->lon, state->lon_hemi, 0U, state->lon_deg, sizeof(state->lon_deg));
        state->fix_valid = 1U;
        state->last_update_ms = HAL_GetTick();
    }
    else if (((strncmp(type, "$GPRMC", 6U) == 0) || (strncmp(type, "$GNRMC", 6U) == 0)
           || (strncmp(type, "$GPGGA", 6U) == 0) || (strncmp(type, "$GNGGA", 6U) == 0)
           || (strncmp(type, "$GPGLL", 6U) == 0) || (strncmp(type, "$GNGLL", 6U) == 0)))
    {
        state->fix_valid = 0U;
    }
}

//Accept raw NMEA from a PC, legacy BTGPS/PHONEGPS messages, or plain decimal
/* Accept decimal coordinates from legacy phone apps as well as BTGPS/PHONEGPS helper prefixes. */
static uint8_t App_BtParseCoordinateText(const char *sentence, gps_state_t *state)
{
    char local[GPS_LINE_MAX];
    char *first;
    char *second;
    char *end_ptr;
    double lat_value;
    double lon_value;

    if ((sentence == NULL) || (state == NULL))
    {
        return 0U;
    }

    while ((*sentence == ' ') || (*sentence == '	'))
    {
        sentence++;
    }

    if (strncmp(sentence, "BTGPS,", 6U) == 0)
    {
        sentence += 6U;
    }
    else if (strncmp(sentence, "PHONEGPS,", 9U) == 0)
    {
        sentence += 9U;
    }
    else if (strncmp(sentence, "geo:", 4U) == 0)
    {
        sentence += 4U;
    }
    else if (strncmp(sentence, "LAT=", 4U) == 0)
    {
        sentence += 4U;
    }

    strncpy(local, sentence, sizeof(local) - 1U);
    local[sizeof(local) - 1U] = '\0';

    if (strncmp(local, "LAT=", 4U) == 0)
    {
        memmove(local, local + 4, strlen(local + 4) + 1U);
    }
    if (strncmp(local, "LON=", 4U) == 0)
    {
        memmove(local, local + 4, strlen(local + 4) + 1U);
    }

    first = strtok(local, ",");
    second = strtok(NULL, ",");
    if ((first == NULL) || (second == NULL))
    {
        return 0U;
    }

    if (strncmp(second, "LON=", 4U) == 0)
    {
        second += 4U;
    }

    lat_value = strtod(first, &end_ptr);
    if ((end_ptr == first) || ((*end_ptr != '\0') && (*end_ptr != ' ')))
    {
        return 0U;
    }
    lon_value = strtod(second, &end_ptr);
    if ((end_ptr == second) || ((*end_ptr != '\0') && (*end_ptr != ' ')))
    {
        return 0U;
    }

    if ((lat_value < -90.0) || (lat_value > 90.0) || (lon_value < -180.0) || (lon_value > 180.0))
    {
        return 0U;
    }

    memset(state, 0, sizeof(*state));
    snprintf(state->lat_deg, sizeof(state->lat_deg), "%.5f", lat_value);
    snprintf(state->lon_deg, sizeof(state->lon_deg), "%.5f", lon_value);
    state->fix_valid = 1U;
    state->last_update_ms = HAL_GetTick();
    return 1U;
}

/* Bluetooth may deliver full NMEA, simplified text coordinates, or an explicit "fix lost" command. */
static void App_BtParseSentence(char *sentence)
{
    if (sentence == NULL)
    {
        return;
    }

    while ((*sentence == ' ') || (*sentence == '\t'))
    {
        sentence++;
    }

    if (sentence[0] == '$')
    {
        App_GpsParseSentenceToState(&g_bt_gps, sentence);
        return;
    }

    if ((strcmp(sentence, "BTGPS,OFF") == 0) || (strcmp(sentence, "BTFIX,0") == 0))
    {
        memset(&g_bt_gps, 0, sizeof(g_bt_gps));
        return;
    }

    (void)App_BtParseCoordinateText(sentence, &g_bt_gps);
}

/* Promote a completed GNSS line from the interrupt buffer into the parsed GPS state. */
static void App_GpsProcessPending(void)
{
    if (g_gps_sentence_ready != 0U)
    {
        g_gps_sentence_ready = 0U;
        App_GpsParseSentence(g_gps_sentence_buffer);
        g_ui_force_refresh = 1U;
    }
}

/* Promote a completed Bluetooth line from the interrupt buffer into the fallback GPS state. */
static void App_BtProcessPending(void)
{
    if (g_bt_sentence_ready != 0U)
    {
        g_bt_sentence_ready = 0U;
        App_BtParseSentence(g_bt_sentence_buffer);
        g_ui_force_refresh = 1U;
    }
}

/* Keep both serial ports in byte-wise interrupt mode: USART3 for GNSS and
 * USART1 for the JDY-31 Bluetooth bridge. */
void HAL_UART_RxCpltCallback(UART_HandleTypeDef *huart)
{
    if (huart->Instance == USART3)
    {
        App_GpsHandleByte(g_gps_rx_byte);
        (void)HAL_UART_Receive_IT(&huart3, &g_gps_rx_byte, 1U);
    }
    else if (huart->Instance == USART1)
    {
        App_BtHandleByte(g_bt_rx_byte);
        (void)HAL_UART_Receive_IT(&huart1, &g_bt_rx_byte, 1U);
    }
}

/* Restart reception after UART overrun/line errors so the byte stream remains continuous. */
void HAL_UART_ErrorCallback(UART_HandleTypeDef *huart)
{
    if (huart->Instance == USART3)
    {
        __HAL_UART_CLEAR_OREFLAG(&huart3);
        (void)HAL_UART_Receive_IT(&huart3, &g_gps_rx_byte, 1U);
    }
    else if (huart->Instance == USART1)
    {
        __HAL_UART_CLEAR_OREFLAG(&huart1);
        (void)HAL_UART_Receive_IT(&huart1, &g_bt_rx_byte, 1U);
    }
}
/* USER CODE END 0 */

int main(void)
{
  uint32_t now;
  uint8_t alert_active;

  /* Initialize the MCU, peripherals, and all application-side modules. */
  HAL_Init();
  SystemClock_Config();

  MX_GPIO_Init();
  MX_I2C1_Init();
  MX_USART1_UART_Init();
  MX_USART3_UART_Init();
  MX_TIM1_Init();
  MX_TIM3_Init();
  MX_I2C2_Init();
  MX_I2C3_Init();
  MX_TIM4_Init();
  MX_ADC1_Init();

  OLED_Init();
  App_BuzzerStop();

  (void)HAL_UART_Receive_IT(&huart3, &g_gps_rx_byte, 1U);
  (void)HAL_UART_Receive_IT(&huart1, &g_bt_rx_byte, 1U);

  Int_MAX30102_Init();

  if (mpu_dmp_init() == 0U)
  {
      g_mpu_basic_ready = 1U;
      g_mpu_dmp_ready = 1U;
  }
  else if (MPU_Init() == 0U)
  {
      g_mpu_basic_ready = 1U;
      g_mpu_dmp_ready = 0U;
  }

  g_boot_ms = HAL_GetTick();
  App_RtcTask();
  App_LightTask();
  App_DhtTask();
  g_ui_force_refresh = 1U;

  while (1)
  {
    now = HAL_GetTick();

    /* The firmware intentionally uses a simple cooperative scheduler instead of an RTOS. */
    App_GpsProcessPending();
    App_BtProcessPending();

    if ((now - g_last_key_ms) >= KEY_SCAN_MS)
    {
        g_last_key_ms = now;
        App_KeysTask();
    }

    if ((now - g_last_mpu_ms) >= MPU_UPDATE_MS)
    {
        g_last_mpu_ms = now;
        App_MotionTask();
    }

    if ((now - g_last_adc_ms) >= ADC_UPDATE_MS)
    {
        g_last_adc_ms = now;
        App_LightTask();
    }

    if ((now - g_last_rtc_ms) >= RTC_UPDATE_MS)
    {
        g_last_rtc_ms = now;
        App_RtcTask();
    }

    if ((now - g_last_dht_ms) >= DHT_UPDATE_MS)
    {
        g_last_dht_ms = now;
        App_DhtTask();
    }

    if (((now - g_boot_ms) >= MAX30102_STARTUP_DELAY_MS) && ((now - g_last_max30102_ms) >= MAX30102_UPDATE_MS))
    {
        g_last_max30102_ms = now;
        App_PulseTask();
    }

    /* Refresh the OLED either on demand (page/important state change) or at the regular UI cadence. */
    if ((g_ui_force_refresh != 0U) || ((now - g_last_oled_ms) >= OLED_UPDATE_MS))
    {
        g_last_oled_ms = now;
        g_ui_force_refresh = 0U;
        App_OledTask();
    }

    if ((now - g_last_bt_ms) >= BT_UPDATE_MS)
    {
        g_last_bt_ms = now;
        App_BluetoothTask();
    }

    /* A single alert flag keeps the buzzer logic independent from the individual modules. */
    alert_active = 0U;
    if ((g_dht.valid != 0U) && (g_dht.temp > g_ui.temp_warn))
    {
        alert_active = 1U;
    }
    if ((g_pulse.hr_valid != 0U) && (g_pulse.heart_rate > g_ui.hr_warn))
    {
        alert_active = 1U;
    }
    App_AlarmTask(now, alert_active);
  }
}

void SystemClock_Config(void)
{
  RCC_OscInitTypeDef RCC_OscInitStruct = {0};
  RCC_ClkInitTypeDef RCC_ClkInitStruct = {0};

  /** Configure the main internal regulator output voltage
  */
  if (HAL_PWREx_ControlVoltageScaling(PWR_REGULATOR_VOLTAGE_SCALE1) != HAL_OK)
  {
    Error_Handler();
  }

  /** Configure LSE Drive Capability
  */
  HAL_PWR_EnableBkUpAccess();
  __HAL_RCC_LSEDRIVE_CONFIG(RCC_LSEDRIVE_LOW);

  /** Initializes the RCC Oscillators according to the specified parameters
  * in the RCC_OscInitTypeDef structure.
  */
  RCC_OscInitStruct.OscillatorType = RCC_OSCILLATORTYPE_LSE|RCC_OSCILLATORTYPE_MSI;
  RCC_OscInitStruct.LSEState = RCC_LSE_ON;
  RCC_OscInitStruct.MSIState = RCC_MSI_ON;
  RCC_OscInitStruct.MSICalibrationValue = 0;
  RCC_OscInitStruct.MSIClockRange = RCC_MSIRANGE_6;
  RCC_OscInitStruct.PLL.PLLState = RCC_PLL_ON;
  RCC_OscInitStruct.PLL.PLLSource = RCC_PLLSOURCE_MSI;
  RCC_OscInitStruct.PLL.PLLM = 1;
  RCC_OscInitStruct.PLL.PLLN = 36;
  RCC_OscInitStruct.PLL.PLLP = RCC_PLLP_DIV7;
  RCC_OscInitStruct.PLL.PLLQ = RCC_PLLQ_DIV2;
  RCC_OscInitStruct.PLL.PLLR = RCC_PLLR_DIV2;
  if (HAL_RCC_OscConfig(&RCC_OscInitStruct) != HAL_OK)
  {
    Error_Handler();
  }

  /** Initializes the CPU, AHB and APB buses clocks
  */
  RCC_ClkInitStruct.ClockType = RCC_CLOCKTYPE_HCLK|RCC_CLOCKTYPE_SYSCLK
                              |RCC_CLOCKTYPE_PCLK1|RCC_CLOCKTYPE_PCLK2;
  RCC_ClkInitStruct.SYSCLKSource = RCC_SYSCLKSOURCE_PLLCLK;
  RCC_ClkInitStruct.AHBCLKDivider = RCC_SYSCLK_DIV1;
  RCC_ClkInitStruct.APB1CLKDivider = RCC_HCLK_DIV1;
  RCC_ClkInitStruct.APB2CLKDivider = RCC_HCLK_DIV1;

  if (HAL_RCC_ClockConfig(&RCC_ClkInitStruct, FLASH_LATENCY_4) != HAL_OK)
  {
    Error_Handler();
  }

  /** Enable MSI Auto calibration
  */
  HAL_RCCEx_EnableMSIPLLMode();
}

void Error_Handler(void)
{
  __disable_irq();
  while (1)
  {
  }
}
